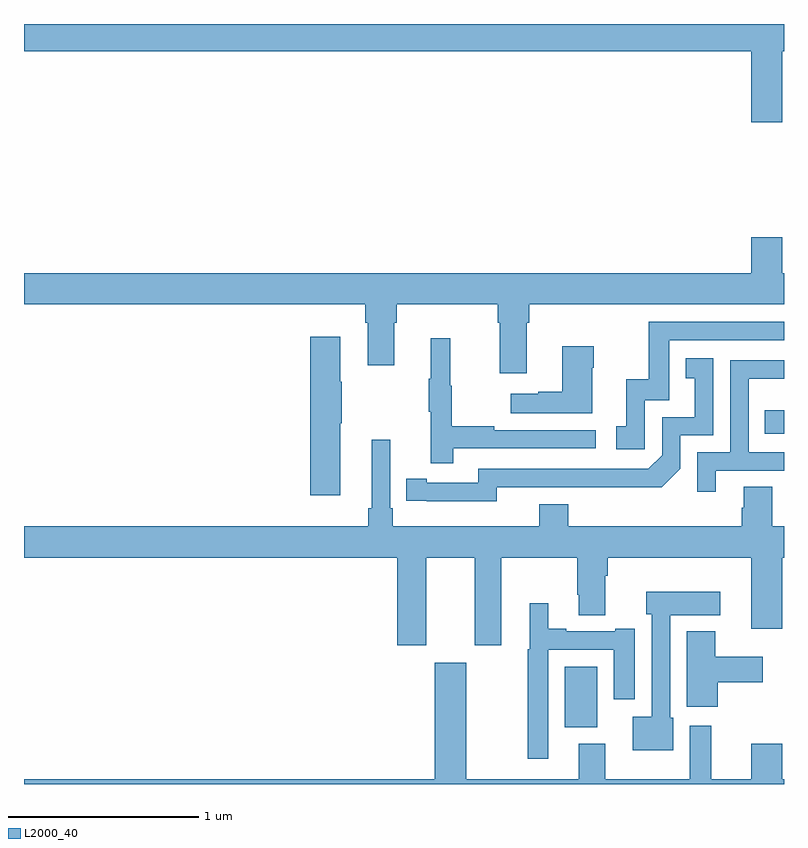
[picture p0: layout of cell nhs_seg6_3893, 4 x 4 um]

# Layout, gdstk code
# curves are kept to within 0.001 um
import gdstk
lib = gdstk.Library(unit=1e-6, precision=1e-09)
def R(c, l, rs):  # rectangles x0, y0, x1, y1
    for r in rs: c.add(gdstk.rectangle(r[:2], r[2:], *l))
def P(c, l, *ps):  # polygons
    for p in ps: c.add(gdstk.Polygon(p, *l))
L2000_40 = (2000, 40)

nhs_seg6_3893 = lib.new_cell('nhs_seg6_3893')
R(nhs_seg6_3893, L2000_40, [(343.847,923.798,344.017,924.118), (344.899,925.344,345,925.467)])
P(nhs_seg6_3893, L2000_40, [(344.992,927.356),(345,927.356),(345,927.5),(341,927.5),(341,927.356),(344.828,927.356),(344.828,926.982),(344.992,926.982)],
  [(343.645,925.928),(343.658,925.928),(343.658,926.024),(345,926.024),(345,926.188),(344.992,926.188),(344.992,926.377),(344.828,926.377),(344.828,926.188),(341,926.188),(341,926.024),(342.797,926.024),(342.797,925.928),(342.809,925.928),(342.809,925.704),(342.949,925.704),(342.949,925.928),(342.962,925.928),(342.962,926.024),(343.493,926.024),(343.493,925.928),(343.505,925.928),(343.505,925.662),(343.645,925.662)],
  [(344.268,925.521),(344.397,925.521),(344.397,925.836),(345,925.836),(345,925.932),(344.289,925.932),(344.289,925.63),(344.171,925.63),(344.171,925.383),(344.118,925.383),(344.118,925.263),(344.268,925.263)],
  [(342.664,925.399),(342.672,925.399),(342.672,925.616),(342.664,925.616),(342.664,925.855),(342.506,925.855),(342.506,925.02),(342.664,925.02)],
  [(343.259,925.266),(344.008,925.266),(344.008,925.362),(343.475,925.362),(343.475,925.382),(343.252,925.382),(343.252,925.596),(343.244,925.596),(343.244,925.846),(343.142,925.846),(343.142,925.633),(343.131,925.633),(343.131,925.459),(343.142,925.459),(343.142,925.188),(343.259,925.188)],
  [(343.99,925.691),(343.998,925.691),(343.998,925.804),(343.832,925.804),(343.832,925.565),(343.706,925.565),(343.706,925.555),(343.563,925.555),(343.563,925.451),(343.99,925.451)],
  [(343.488,925.062),(344.356,925.061),(344.454,925.158),(344.454,925.335),(344.628,925.335),(344.628,925.741),(344.482,925.741),(344.482,925.635),(344.531,925.635),(344.531,925.431),(344.358,925.431),(344.358,925.23),(344.286,925.158),(343.392,925.158),(343.392,925.086),(343.12,925.086),(343.12,925.106),(343.012,925.106),(343.012,924.99),(343.488,924.989)],
  [(344.641,925.149),(345,925.149),(345,925.245),(344.814,925.245),(344.814,925.634),(345,925.634),(345,925.731),(344.718,925.731),(344.718,925.245),(344.544,925.245),(344.544,925.038),(344.641,925.038)],
  [(342.941,924.952),(342.927,924.952),(342.927,925.312),(342.83,925.312),(342.83,924.952),(342.811,924.952),(342.811,924.856),(341,924.856),(341,924.692),(342.965,924.692),(342.965,924.231),(343.117,924.231),(343.117,924.692),(343.373,924.692),(343.373,924.231),(343.513,924.231),(343.513,924.692),(343.912,924.692),(343.912,924.496),(343.919,924.496),(343.919,924.388),(344.059,924.388),(344.059,924.596),(344.072,924.596),(344.072,924.692),(344.828,924.692),(344.828,924.318),(344.992,924.318),(344.992,924.692),(345,924.692),(345,924.856),(344.937,924.856),(344.937,925.064),(344.789,925.064),(344.789,924.954),(344.777,924.954),(344.777,924.856),(343.865,924.856),(343.865,924.973),(343.712,924.973),(343.712,924.856),(342.941,924.856)],
  [(344.416,923.85),(344.4,923.85),(344.4,924.389),(344.665,924.389),(344.665,924.511),(344.276,924.511),(344.276,924.393),(344.304,924.393),(344.304,923.854),(344.204,923.854),(344.204,923.678),(344.416,923.678)],
  [(343.758,924.207),(344.105,924.207),(344.105,923.946),(344.215,923.946),(344.215,924.316),(344.111,924.316),(344.111,924.303),(343.855,924.303),(343.855,924.316),(343.759,924.316),(343.759,924.451),(343.661,924.451),(343.661,924.21),(343.65,924.21),(343.65,923.634),(343.758,923.634)],
  [(344.651,924.035),(344.887,924.035),(344.887,924.169),(344.638,924.169),(344.638,924.304),(344.489,924.304),(344.489,923.907),(344.651,923.907)],
  [(345,923.524),(344.992,923.524),(344.992,923.713),(344.828,923.713),(344.828,923.524),(344.617,923.524),(344.617,923.806),(344.504,923.806),(344.504,923.524),(344.059,923.524),(344.059,923.713),(343.919,923.713),(343.919,923.524),(343.327,923.524),(343.327,924.139),(343.163,924.139),(343.163,923.524),(341,923.524),(341,923.5),(345,923.5)])

lib.write_gds('nhs_seg6_3893.gds')
